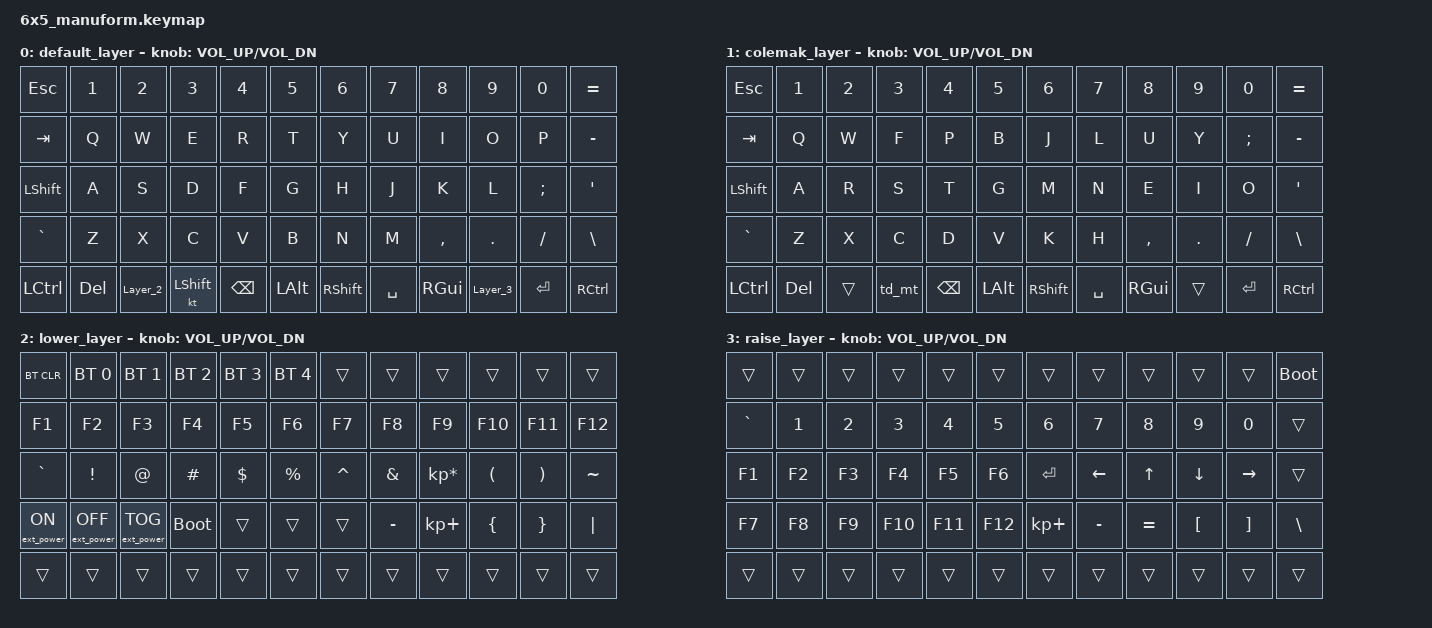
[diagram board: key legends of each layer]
/*
 * Copyright (c) 2020 The ZMK Contributors
 *
 * SPDX-License-Identifier: MIT
 */

#include <behaviors.dtsi>
#include <dt-bindings/zmk/keys.h>
#include <dt-bindings/zmk/bt.h>
#include <dt-bindings/zmk/ext_power.h>
#include "../zmk-nodefree-config/helper.h"
#include "combos.dtsi"  // requires layer aliases
#include "mouse.dtsi"
#include "extra_keys.h"

/ {
    behaviors {
        Layer_1: Layer_1 {
            compatible = "zmk,behavior-tap-dance";
            label = "LAYER_1";
            #binding-cells = <0>;
            tapping-term-ms = <500>;
            bindings =
                <&mo 1>,
                <&tog 1>;
        };
        Layer_2: Layer_2 {
            compatible = "zmk,behavior-tap-dance";
            label = "LAYER_2";
            #binding-cells = <0>;
            tapping-term-ms = <500>;
            bindings =
                <&mo 2>,
                <&tog 2>;
        };
        Layer_3: Layer_3 {
            compatible = "zmk,behavior-tap-dance";
            label = "LAYER_3";
            #binding-cells = <0>;
            tapping-term-ms = <500>;
            bindings =
                <&mo 3>,
                <&tog 3>;
        };
        td_mt: tap_dance_mod_tap {
            compatible = "zmk,behavior-tap-dance";
            label = "TAP_DANCE_MOD_TAP";
            #binding-cells = <0>;
            tapping-term-ms = <500>;
            bindings = <&mt LSHIFT CAPSLOCK>, <&kp LCTRL>;
        };
    };

    combos {
        compatible = "zmk,combos";

        combo_layer_1 {
            timeout-ms = <50>;
            key-positions = <50 57>;
            bindings = <&tog 1>;
            layers = <0 1 2 3>;
        };

        combo_caps_word {
            timeout-ms = <50>;
            key-positions = <51 54>;
            bindings = <&caps_word>;
            layers = <0 1 2 3>;
        };

        combo_esc {
            timeout-ms = <50>;
            key-positions = <13 14>;
            bindings = <&kp ESC>;
            layers = <0 1 2 3>;
        };

        combo_mac_menu {
            bindings = <&mac_menu>;
            key-positions = <52 55>;
        };
    };

    macros {
        mac_menu: mac_menu {
            compatible = "zmk,behavior-macro";
            label = "MAC_MENU";
            #binding-cells = <0>;
            bindings =
                <&macro_press>,
                <&kp RG(SPACE)>,
                <&macro_release>;
        };
    };

    keymap {
        compatible = "zmk,keymap";

        default_layer {
            // ------------------------------------------------------------------------------------------------------------
            // |  ESC   |  1  |  2  |  3   |  4   |  5   |                    |  6   |  7    |  8    |  9   |   0   |   `   |
            // |  TAB   |  Q  |  W  |  E   |  R   |  T   |                    |  Y   |  U    |  I    |  O   |   P   |   -   |
            // |  CTRL  |  A  |  S  |  D   |  F   |  G   |                    |  H   |  J    |  K    |  L   |   ;   |   '   |
            // | SHIFT  |  Z  |  X  |  C   |  V   |  B   |                    |  N   |  M    |  ,    |  .   |   /   | SHIFT |
            // |    2   |  2  | f   | 6    | 4    | 1    |                    | 2    | 1     | w     | s    | n     |  a    |

            bindings = <
  &kp ESC   &kp N1    &kp N2  &kp N3         &kp N4    &kp N5      &kp N6     &kp N7     &kp N8    &kp N9     &kp N0  &kp EQUAL
  &kp TAB    &kp Q     &kp W   &kp E          &kp R     &kp T       &kp Y      &kp U      &kp I     &kp O      &kp P  &kp MINUS
&kp LSHFT    &kp A     &kp S   &kp D          &kp F     &kp G       &kp H      &kp J      &kp K     &kp L   &kp SEMI    &kp SQT
&kp GRAVE    &kp Z     &kp X   &kp C          &kp V     &kp B       &kp N      &kp M  &kp COMMA   &kp DOT   &kp FSLH   &kp BSLH
&kp LCTRL  &kp DEL  &Layer_2  &kt LSHIFT  &kp BACKSPACE  &kp LALT  &kp RSHIFT  &kp SPACE   &kp RGUI  &Layer_3  &kp ENTER  &kp RCTRL
            >;

            sensor-bindings = <&inc_dec_kp C_VOL_UP C_VOL_DN>;
        };

        colemak_layer {
            // ------------------------------------------------------------------------------------------------------------
            // |  ESC   |  1  |  2  |  3   |  4   |  5   |                    |  6   |  7    |  8    |  9   |   0   |   `   |
            // |  TAB   |  Q  |  W  |  E   |  R   |  T   |                    |  Y   |  U    |  I    |  O   |   P   |   -   |
            // |  CTRL  |  A  |  S  |  D   |  F   |  G   |                    |  H   |  J    |  K    |  L   |   ;   |   '   |
            // | SHIFT  |  Z  |  X  |  C   |  V   |  B   |                    |  N   |  M    |  ,    |  .   |   /   | SHIFT |
            // |    2   |  2  | f   | 6    | 4    | 1    |                    | 2    | 1     | w     | s    | n     |  a    |

            bindings = <
  &kp ESC   &kp N1  &kp N2  &kp N3         &kp N4    &kp N5      &kp N6     &kp N7     &kp N8   &kp N9     &kp N0  &kp EQUAL
  &kp TAB    &kp Q   &kp W   &kp F          &kp P     &kp B       &kp J      &kp L      &kp U    &kp Y   &kp SEMI  &kp MINUS
&kp LSHFT    &kp A   &kp R   &kp S          &kp T     &kp G       &kp M      &kp N      &kp E    &kp I      &kp O    &kp SQT
&kp GRAVE    &kp Z   &kp X   &kp C          &kp D     &kp V       &kp K      &kp H  &kp COMMA  &kp DOT   &kp FSLH   &kp BSLH
&kp LCTRL  &kp DEL  &trans  &td_mt  &kp BACKSPACE  &kp LALT  &kp RSHIFT  &kp SPACE   &kp RGUI   &trans  &kp ENTER  &kp RCTRL
            >;

            sensor-bindings = <&inc_dec_kp C_VOL_UP C_VOL_DN>;
        };

        lower_layer {
            // ------------------------------------------------------------------------------------------------------------
            // | BTCLR | BT1 | BT2 |  BT3 |  BT4 |  BT5 |                   |      |       |       |      |       |       |
            // |  F1   |  F2 |  F3 |  F4  |  F5  |  F6  |                   |  F7  |  F8   |  F9   |  F10 |  F11  |  F12  |
            // |   `   |  !  |  @  |  #   |  $   |  %   |                   |  ^   |  &    |  *    |  (   |   )   |   ~   |
            // |       |     |     |      |      |      |                   |      |  _    |  +    |  {   |   }   |  "|"  |
            // |       |     |     |      |      |      |                   |      |       |       |      |       |       |

            bindings = <
      &bt BT_CLR       &bt BT_SEL 0       &bt BT_SEL 1  &bt BT_SEL 2  &bt BT_SEL 3  &bt BT_SEL 4     &trans     &trans           &trans    &trans    &trans     &trans
          &kp F1             &kp F2             &kp F3        &kp F4        &kp F5        &kp F6     &kp F7     &kp F8           &kp F9   &kp F10   &kp F11    &kp F12
       &kp GRAVE           &kp EXCL             &kp AT      &kp HASH    &kp DOLLAR     &kp PRCNT  &kp CARET   &kp AMPS  &kp KP_MULTIPLY  &kp LPAR  &kp RPAR  &kp TILDE
&ext_power EP_ON  &ext_power EP_OFF  &ext_power EP_TOG   &bootloader        &trans        &trans     &trans  &kp MINUS      &kp KP_PLUS  &kp LBRC  &kp RBRC   &kp PIPE
          &trans             &trans             &trans        &trans        &trans        &trans     &trans     &trans           &trans    &trans    &trans     &trans
            >;

            sensor-bindings = <&inc_dec_kp C_VOL_UP C_VOL_DN>;
        };

        raise_layer {
            // ------------------------------------------------------------------------------------------------------------
            // |       |     |     |      |      |      |                   |      |       |       |      |       |       |
            // |   `   |  1  |  2  |  3   |  4   |  5   |                   |  6   |   7   |   8   |  9   |   0   |       |
            // |   F1  |  F2 |  F3 |  F4  |  F5  |  F6  |                   |      |   <-  |   v   |  ^   |  ->   |       |
            // |   F7  |  F8 |  F9 |  F10 |  F11 |  F12 |		             |  +   |   -   |   =   |  [   |   ]   |   \   |
            // |     |     |      |      |      |        |                   |       |      |       |       |      |       |

            bindings = <
   &trans  &trans  &trans   &trans   &trans   &trans       &trans     &trans     &trans    &trans     &trans  &bootloader
&kp GRAVE  &kp N1  &kp N2   &kp N3   &kp N4   &kp N5       &kp N6     &kp N7     &kp N8    &kp N9     &kp N0       &trans
   &kp F1  &kp F2  &kp F3   &kp F4   &kp F5   &kp F6      &kp RET   &kp LEFT     &kp UP  &kp DOWN  &kp RIGHT       &trans
   &kp F7  &kp F8  &kp F9  &kp F10  &kp F11  &kp F12  &kp KP_PLUS  &kp MINUS  &kp EQUAL  &kp LBKT   &kp RBKT     &kp BSLH
   &trans  &trans  &trans   &trans   &trans   &trans       &trans     &trans     &trans    &trans     &trans       &trans
            >;

            sensor-bindings = <&inc_dec_kp C_VOL_UP C_VOL_DN>;
        };
    };
};
